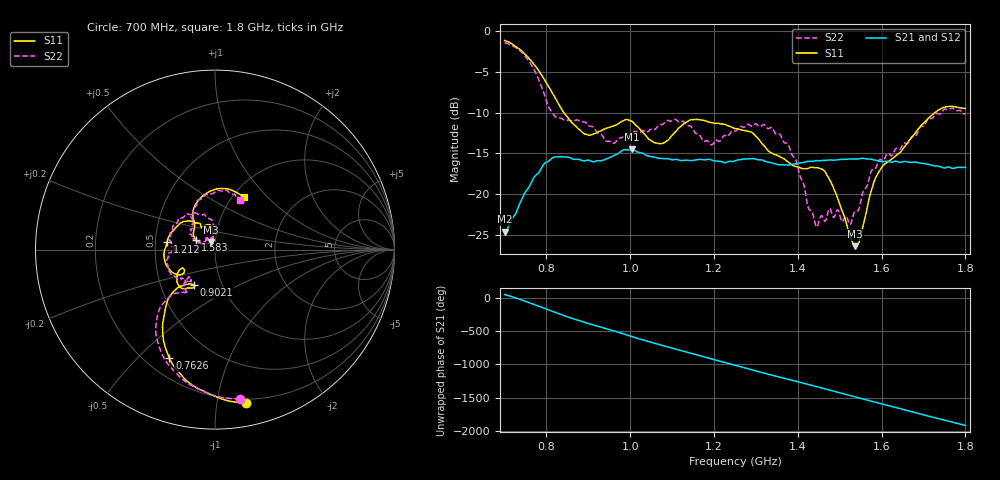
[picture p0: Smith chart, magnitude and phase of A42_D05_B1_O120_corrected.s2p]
! Created with skrf 1.9.0 (http://scikit-rf.org).
# Hz S RI R 50.0
!freq ReS11 ImS11 ReS21 ImS21 ReS12 ImS12 ReS22 ImS22
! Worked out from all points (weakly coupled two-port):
!   1601 points, 700 MHz to 1.8 GHz, reference 50 ohm
!   highest |S21| = -14.48 dB at 1.003 GHz (marker M1); lowest = -24.5 dB at 700.7 MHz (marker M2)
!   lowest |S11| = -26.3 dB at 1.537 GHz (marker M3), VSWR 1.10, Z = 47.6 + j4.07 ohm
!   |S11| at or under -10 dB: 841.2 MHz to 1.728 GHz (886.5 MHz wide, 69 % of centre)
!   |S22| runs from -24.0 to -1.5 dB; largest |S21 - S12| = 0.0034
!   S11 on the Smith chart (normalised r, x): 700 MHz: 0.17, -1.21; 762.6 MHz: 0.29, -0.62; 902.1 MHz: 0.73, -0.30; 1.212 GHz: 0.58, +0.05; 1.583 GHz: 0.80, +0.09; 1.8 GHz: 1.12, +0.74
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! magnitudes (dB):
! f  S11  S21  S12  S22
! 700 MHz  -1.2  -24.5  -24.3  -1.5
! 700.7 MHz  -1.2  -24.5  -24.2  -1.5
! 762.6 MHz  -3.7  -18.7  -18.7  -4.1
! 818.9 MHz  -8.0  -15.4  -15.5  -10.4
! 883.6 MHz  -12.3  -15.8  -15.7  -11.2
! 902.1 MHz  -12.8  -15.8  -15.8  -11.7
! 958.5 MHz  -11.7  -15.3  -15.3  -13.7
! 1.003 GHz  -11.1  -14.5  -14.6  -12.6
! 1.067 GHz  -13.8  -15.6  -15.5  -11.6
! 1.143 GHz  -10.9  -15.9  -15.9  -11.6
! 1.212 GHz  -11.3  -15.9  -15.9  -13.5
! 1.25 GHz  -12.0  -15.9  -15.8  -12.3
! 1.357 GHz  -15.4  -16.4  -16.3  -12.7
! 1.394 GHz  -16.6  -16.3  -16.3  -15.7
! 1.434 GHz  -16.7  -16.0  -15.9  -22.1
! 1.445 GHz  -16.7  -15.9  -15.9  -24.0
! 1.476 GHz  -18.2  -15.8  -15.8  -21.7
! 1.537 GHz  -26.3  -15.7  -15.7  -22.1
! 1.583 GHz  -18.3  -15.8  -15.8  -17.0
! 1.617 GHz  -16.0  -16.0  -16.0  -15.0
! 1.733 GHz  -9.8  -16.5  -16.6  -10.1
! 1.8 GHz  -9.5  -16.7  -16.7  -10.1
